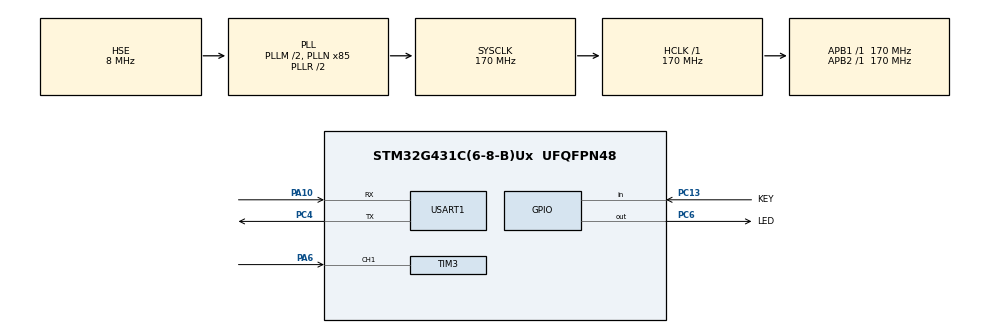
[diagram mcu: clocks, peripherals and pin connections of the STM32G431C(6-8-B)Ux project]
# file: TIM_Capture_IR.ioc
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Mcu.Family=STM32G4
Mcu.Name=STM32G431C(6-8-B)Ux
Mcu.Package=UFQFPN48
NVIC.PriorityGroup=NVIC_PRIORITYGROUP_4
NVIC.TIM3_IRQn=true\:0\:0\:false\:false\:true\:true\:true\:true
PA10.Mode=Asynchronous
PA10.Signal=USART1_RX
PA13.Mode=Trace_Asynchronous_SW
PA13.Signal=SYS_JTMS-SWDIO
PA14.Mode=Trace_Asynchronous_SW
PA14.Signal=SYS_JTCK-SWCLK
PA6.GPIO_PuPd=GPIO_PULLUP
PA6.Signal=S_TIM3_CH1
PB3.Mode=Trace_Asynchronous_SW
PB3.Signal=SYS_JTDO-SWO
PC13.GPIO_Label=KEY
PC13.GPIO_PuPd=GPIO_PULLDOWN
PC13.Signal=GPIO_Input
PC4.Mode=Asynchronous
PC4.Signal=USART1_TX
PC6.GPIO_Label=LED
PC6.GPIO_ModeDefaultOutputPP=GPIO_MODE_OUTPUT_PP
PC6.GPIO_Speed=GPIO_SPEED_FREQ_LOW
PC6.PinState=GPIO_PIN_RESET
PC6.Signal=GPIO_Output
PF0-OSC_IN.Mode=HSE-External-Oscillator
PF0-OSC_IN.Signal=RCC_OSC_IN
PF1-OSC_OUT.Mode=HSE-External-Oscillator
PF1-OSC_OUT.Signal=RCC_OSC_OUT
ProjectManager.HeapSize=0x200
ProjectManager.StackSize=0x400
ProjectManager.TargetToolchain=STM32CubeIDE
RCC.ADC12Freq_Value=170000000
RCC.AHBFreq_Value=170000000
RCC.APB1Freq_Value=170000000
RCC.APB1TimFreq_Value=170000000
RCC.APB2Freq_Value=170000000
RCC.APB2TimFreq_Value=170000000
RCC.CortexFreq_Value=170000000
RCC.EXTERNAL_CLOCK_VALUE=12288000
RCC.HCLKFreq_Value=170000000
RCC.HSE_VALUE=8000000
RCC.HSI48_VALUE=48000000
RCC.HSI_VALUE=16000000
RCC.LSE_VALUE=32768
RCC.PLLM=RCC_PLLM_DIV2
RCC.PLLN=85
RCC.PLLSourceVirtual=RCC_PLLSOURCE_HSE
RCC.SYSCLKFreq_VALUE=170000000
RCC.SYSCLKSource=RCC_SYSCLKSOURCE_PLLCLK
RCC.USBFreq_Value=170000000
RCC.VCOOutputFreq_Value=340000000
SH.S_TIM3_CH1.0=TIM3_CH1,PWM_Input_1
TIM3.Prescaler=170-1
USART1.VirtualMode-Asynchronous=VM_ASYNC
VP_SYS_VS_DBSignals.Mode=DisableDeadBatterySignals
VP_TIM3_VS_ClockSourceINT.Mode=Internal
board=custom

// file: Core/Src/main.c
/* USER CODE BEGIN Header */
/**
  ******************************************************************************
  * @file           : main.c
  * @brief          : Main program body
  ******************************************************************************
  * @attention
  *
  * Copyright (c) 2025 STMicroelectronics.
  * All rights reserved.
  *
  * This software is licensed under terms that can be found in the LICENSE file
  * in the root directory of this software component.
  * If no LICENSE file comes with this software, it is provided AS-IS.
  *
  ******************************************************************************
  */
/* USER CODE END Header */
#include "main.h"

/* USER CODE BEGIN Includes */
#include "console.h"
/* USER CODE END Includes */

TIM_HandleTypeDef htim3;

UART_HandleTypeDef huart1;

/* USER CODE BEGIN PV */

uint16_t ir_signal[32];
uint16_t signal;
uint8_t n = 0;
uint16_t value = 0;
uint16_t code;

/* USER CODE END PV */

void SystemClock_Config(void);
static void MX_GPIO_Init(void);
static void MX_TIM3_Init(void);
static void MX_USART1_UART_Init(void);

/* USER CODE BEGIN 0 */

void HAL_TIM_IC_CaptureCallback(TIM_HandleTypeDef *htim) {
	signal = HAL_TIM_ReadCapturedValue(htim, TIM_CHANNEL_1);
	if (signal > 3000) {
		n = 0;
	}
	else {
		ir_signal[n] = signal;
		n++;
		if (n == 32) {
			for (uint8_t i=16; i<32; i++) {
				value = value << 1;
				if (ir_signal[i] > 2000) {
					value = value | 1;
				}
			}

			uint8_t cmd1 = ~value;
			uint8_t cmdh = value >> 8;

			if (cmd1 == cmdh) {
				printf("Code: %d\r\n", value);

			}
			n = 0;
		}
	}
}

/* USER CODE END 0 */

int main(void)
{

  /* MCU Configuration--------------------------------------------------------*/

  /* Reset of all peripherals, Initializes the Flash interface and the Systick. */
  HAL_Init();

  /* Configure the system clock */
  SystemClock_Config();

  /* Initialize all configured peripherals */
  MX_GPIO_Init();
  MX_TIM3_Init();
  MX_USART1_UART_Init();
  /* USER CODE BEGIN 2 */

  HAL_TIM_IC_Start_IT(&htim3, TIM_CHANNEL_1);
  HAL_TIM_IC_Start(&htim3, TIM_CHANNEL_2);

  /* USER CODE END 2 */

  /* Infinite loop */
  while (1)
  {

  }
}

void SystemClock_Config(void)
{
  RCC_OscInitTypeDef RCC_OscInitStruct = {0};
  RCC_ClkInitTypeDef RCC_ClkInitStruct = {0};

  /** Configure the main internal regulator output voltage
  */
  HAL_PWREx_ControlVoltageScaling(PWR_REGULATOR_VOLTAGE_SCALE1_BOOST);

  /** Initializes the RCC Oscillators according to the specified parameters
  * in the RCC_OscInitTypeDef structure.
  */
  RCC_OscInitStruct.OscillatorType = RCC_OSCILLATORTYPE_HSE;
  RCC_OscInitStruct.HSEState = RCC_HSE_ON;
  RCC_OscInitStruct.PLL.PLLState = RCC_PLL_ON;
  RCC_OscInitStruct.PLL.PLLSource = RCC_PLLSOURCE_HSE;
  RCC_OscInitStruct.PLL.PLLM = RCC_PLLM_DIV2;
  RCC_OscInitStruct.PLL.PLLN = 85;
  RCC_OscInitStruct.PLL.PLLP = RCC_PLLP_DIV2;
  RCC_OscInitStruct.PLL.PLLQ = RCC_PLLQ_DIV2;
  RCC_OscInitStruct.PLL.PLLR = RCC_PLLR_DIV2;
  if (HAL_RCC_OscConfig(&RCC_OscInitStruct) != HAL_OK)
  {
    Error_Handler();
  }

  /** Initializes the CPU, AHB and APB buses clocks
  */
  RCC_ClkInitStruct.ClockType = RCC_CLOCKTYPE_HCLK|RCC_CLOCKTYPE_SYSCLK
                              |RCC_CLOCKTYPE_PCLK1|RCC_CLOCKTYPE_PCLK2;
  RCC_ClkInitStruct.SYSCLKSource = RCC_SYSCLKSOURCE_PLLCLK;
  RCC_ClkInitStruct.AHBCLKDivider = RCC_SYSCLK_DIV1;
  RCC_ClkInitStruct.APB1CLKDivider = RCC_HCLK_DIV1;
  RCC_ClkInitStruct.APB2CLKDivider = RCC_HCLK_DIV1;

  if (HAL_RCC_ClockConfig(&RCC_ClkInitStruct, FLASH_LATENCY_4) != HAL_OK)
  {
    Error_Handler();
  }
}

static void MX_TIM3_Init(void)
{

  TIM_ClockConfigTypeDef sClockSourceConfig = {0};
  TIM_SlaveConfigTypeDef sSlaveConfig = {0};
  TIM_IC_InitTypeDef sConfigIC = {0};
  TIM_MasterConfigTypeDef sMasterConfig = {0};

  htim3.Instance = TIM3;
  htim3.Init.Prescaler = 170-1;
  htim3.Init.CounterMode = TIM_COUNTERMODE_UP;
  htim3.Init.Period = 65535;
  htim3.Init.ClockDivision = TIM_CLOCKDIVISION_DIV1;
  htim3.Init.AutoReloadPreload = TIM_AUTORELOAD_PRELOAD_DISABLE;
  if (HAL_TIM_Base_Init(&htim3) != HAL_OK)
  {
    Error_Handler();
  }
  sClockSourceConfig.ClockSource = TIM_CLOCKSOURCE_INTERNAL;
  if (HAL_TIM_ConfigClockSource(&htim3, &sClockSourceConfig) != HAL_OK)
  {
    Error_Handler();
  }
  if (HAL_TIM_IC_Init(&htim3) != HAL_OK)
  {
    Error_Handler();
  }
  sSlaveConfig.SlaveMode = TIM_SLAVEMODE_RESET;
  sSlaveConfig.InputTrigger = TIM_TS_TI1FP1;
  sSlaveConfig.TriggerPolarity = TIM_INPUTCHANNELPOLARITY_RISING;
  sSlaveConfig.TriggerPrescaler = TIM_ICPSC_DIV1;
  sSlaveConfig.TriggerFilter = 0;
  if (HAL_TIM_SlaveConfigSynchro(&htim3, &sSlaveConfig) != HAL_OK)
  {
    Error_Handler();
  }
  sConfigIC.ICPolarity = TIM_INPUTCHANNELPOLARITY_RISING;
  sConfigIC.ICSelection = TIM_ICSELECTION_DIRECTTI;
  sConfigIC.ICPrescaler = TIM_ICPSC_DIV1;
  sConfigIC.ICFilter = 0;
  if (HAL_TIM_IC_ConfigChannel(&htim3, &sConfigIC, TIM_CHANNEL_1) != HAL_OK)
  {
    Error_Handler();
  }
  sConfigIC.ICPolarity = TIM_INPUTCHANNELPOLARITY_FALLING;
  sConfigIC.ICSelection = TIM_ICSELECTION_INDIRECTTI;
  if (HAL_TIM_IC_ConfigChannel(&htim3, &sConfigIC, TIM_CHANNEL_2) != HAL_OK)
  {
    Error_Handler();
  }
  sMasterConfig.MasterOutputTrigger = TIM_TRGO_RESET;
  sMasterConfig.MasterSlaveMode = TIM_MASTERSLAVEMODE_DISABLE;
  if (HAL_TIMEx_MasterConfigSynchronization(&htim3, &sMasterConfig) != HAL_OK)
  {
    Error_Handler();
  }

}

static void MX_USART1_UART_Init(void)
{

  huart1.Instance = USART1;
  huart1.Init.BaudRate = 115200;
  huart1.Init.WordLength = UART_WORDLENGTH_8B;
  huart1.Init.StopBits = UART_STOPBITS_1;
  huart1.Init.Parity = UART_PARITY_NONE;
  huart1.Init.Mode = UART_MODE_TX_RX;
  huart1.Init.HwFlowCtl = UART_HWCONTROL_NONE;
  huart1.Init.OverSampling = UART_OVERSAMPLING_16;
  huart1.Init.OneBitSampling = UART_ONE_BIT_SAMPLE_DISABLE;
  huart1.Init.ClockPrescaler = UART_PRESCALER_DIV1;
  huart1.AdvancedInit.AdvFeatureInit = UART_ADVFEATURE_NO_INIT;
  if (HAL_UART_Init(&huart1) != HAL_OK)
  {
    Error_Handler();
  }
  if (HAL_UARTEx_SetTxFifoThreshold(&huart1, UART_TXFIFO_THRESHOLD_1_8) != HAL_OK)
  {
    Error_Handler();
  }
  if (HAL_UARTEx_SetRxFifoThreshold(&huart1, UART_RXFIFO_THRESHOLD_1_8) != HAL_OK)
  {
    Error_Handler();
  }
  if (HAL_UARTEx_DisableFifoMode(&huart1) != HAL_OK)
  {
    Error_Handler();
  }

}

static void MX_GPIO_Init(void)
{
  GPIO_InitTypeDef GPIO_InitStruct = {0};

  /* GPIO Ports Clock Enable */
  __HAL_RCC_GPIOC_CLK_ENABLE();
  __HAL_RCC_GPIOF_CLK_ENABLE();
  __HAL_RCC_GPIOA_CLK_ENABLE();
  __HAL_RCC_GPIOB_CLK_ENABLE();

  /*Configure GPIO pin Output Level */
  HAL_GPIO_WritePin(LED_GPIO_Port, LED_Pin, GPIO_PIN_RESET);

  /*Configure GPIO pin : KEY_Pin */
  GPIO_InitStruct.Pin = KEY_Pin;
  GPIO_InitStruct.Mode = GPIO_MODE_INPUT;
  GPIO_InitStruct.Pull = GPIO_PULLDOWN;
  HAL_GPIO_Init(KEY_GPIO_Port, &GPIO_InitStruct);

  /*Configure GPIO pin : LED_Pin */
  GPIO_InitStruct.Pin = LED_Pin;
  GPIO_InitStruct.Mode = GPIO_MODE_OUTPUT_PP;
  GPIO_InitStruct.Pull = GPIO_NOPULL;
  GPIO_InitStruct.Speed = GPIO_SPEED_FREQ_LOW;
  HAL_GPIO_Init(LED_GPIO_Port, &GPIO_InitStruct);

}

void Error_Handler(void)
{
  __disable_irq();
  while (1)
  {
  }
}
